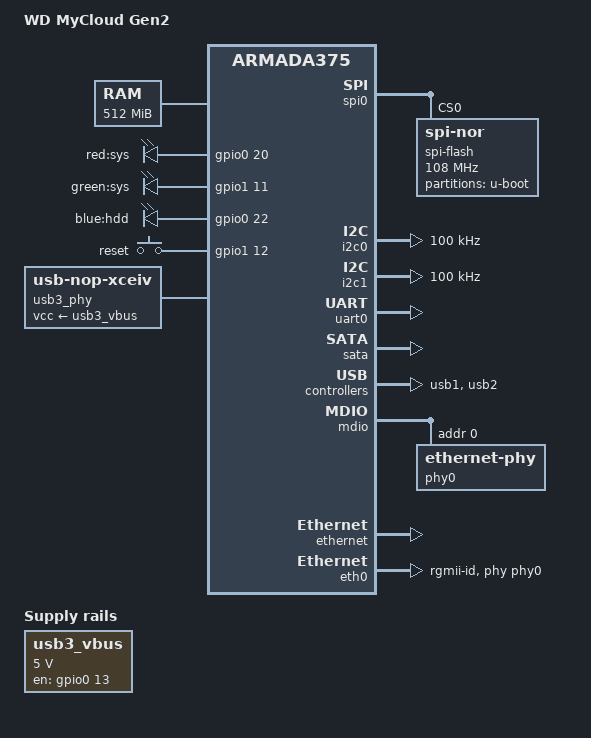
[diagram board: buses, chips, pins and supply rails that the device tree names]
// SPDX-License-Identifier: (GPL-2.0+ OR MIT)

/dts-v1/;
#include <dt-bindings/input/input.h>
#include <dt-bindings/gpio/gpio.h>
#include <dt-bindings/leds/common.h>
#include "armada-375.dtsi"

/ {
	model = "WD MyCloud Gen2";
	compatible = "wd,cloud-gen2", "marvell,a375-db", "marvell,armada375";

	aliases {
		led-boot = &led_boot;
		led-failsafe = &led_boot;
		led-upgrade = &led_boot;
		label-mac-device = &eth0;
	};

	chosen {
		stdout-path = "serial0:115200n8";
		bootargs = "console=ttyS0,115200n8 root=/dev/sda3 rootdelay=5";		
	};

	memory@0 {
		device_type = "memory";
		reg = <0x00000000 0x20000000>; /* 512 MB */
	};

	soc {
		ranges = <MBUS_ID(0xf0, 0x01) 0 0xf1000000 0x100000
			  MBUS_ID(0x01, 0x1d) 0 0xfff00000 0x100000
			  MBUS_ID(0x09, 0x09) 0 0xf1100000 0x10000
			  MBUS_ID(0x09, 0x05) 0 0xf1110000 0x10000>;

	};

	gpio-leds {
		compatible = "gpio-leds";
		pinctrl-names = "default";
		pinctrl-0 = <&sys_led_pins>;

		led_boot: sys_red {
			label = "red:sys";
			gpios = <&gpio0 20 GPIO_ACTIVE_HIGH>;
		};
		sys_green {
			label = "green:sys";
			gpios = <&gpio1 11 GPIO_ACTIVE_HIGH>;
		};
		hdd_blue {
			label = "blue:hdd";
			gpios = <&gpio0 22 GPIO_ACTIVE_HIGH>;
			linux,default-trigger = "ata1";
		};
	};

	gpio-keys {
		compatible = "gpio-keys";
		pinctrl-names = "default";
		pinctrl-0 = <&btn_reset_pins>;

		reset {
			label = "reset";
			gpios = <&gpio1 12 GPIO_ACTIVE_HIGH>;
			linux,code = <KEY_RESTART>;
		};
	};

	usb3_phy: usb3-phy {
		compatible = "usb-nop-xceiv";
		vcc-supply = <&usb3_vbus>;
	};

	usb3_vbus: usb3-vbus {
		compatible = "regulator-fixed";
		pinctrl-names = "default";
		pinctrl-0 = <&usb3_vbus_pins>;
		regulator-name = "usb3-vbus";
		regulator-min-microvolt = <5000000>;
		regulator-max-microvolt = <5000000>;
		enable-active-high;
		regulator-always-on;
		gpio = <&gpio0 13 GPIO_ACTIVE_HIGH>;
	};
};

&spi0 {
	pinctrl-0 = <&spi0_pins>;
	pinctrl-names = "default";
	status = "okay";

	spi-flash@0 {
		#address-cells = <1>;
		#size-cells = <1>;

		compatible = "jedec,spi-nor";
		reg = <0>; /* Chip select 0 */
		spi-max-frequency = <108000000>;

		partitions {
			compatible = "fixed-partitions";
			#address-cells = <1>;
			#size-cells = <1>;

			partition@00000 {
				label = "u-boot";
				reg = <0x0 0x100000>;
				read-only;

				nvmem-layout {
					compatible = "fixed-layout";
					#address-cells = <1>;
					#size-cells = <1>;

					macaddr: macaddr@ff800 {
						compatible = "mac-base";
						reg = <0xff800 0x11>;
						#nvmem-cell-cells = <1>;
					};
				};
			};
		};
	};
};

&i2c0 {
	status = "okay";
	clock-frequency = <100000>;
	pinctrl-0 = <&i2c0_pins>;
	pinctrl-names = "default";
};

&i2c1 {
	status = "okay";
	clock-frequency = <100000>;
	pinctrl-0 = <&i2c1_pins>;
	pinctrl-names = "default";
};

&uart0 {
	status = "okay";
};

&pinctrl {
	sys_led_pins: sys-led-pins {
		marvell,pins = "mpp20", "mpp43", "mpp22"; // R G B
		marvell,function = "gpio";
	};

	btn_reset_pins: btn-reset-pins {
		marvell,pins = "mpp44";
		marvell,function = "gpio";
	};

	usb3_vbus_pins: usb3-vbus-pins {
		marvell,pins = "mpp13";
		marvell,function = "gpio";
	};
};

&rtc {
	status = "disabled";
};

&sata {
	status = "okay";
	nr-ports = <1>;
};

&usb1 {
	status = "okay";
};

&usb2 {
	status = "okay";
};

&mdio {
	phy0: ethernet-phy@0 {
		reg = <0>;
	};
};

&ethernet {
	status = "okay";
};

&eth0 {
	status = "okay";

	nvmem-cells = <&macaddr 0>;
	nvmem-cell-names = "mac-address";

	phy = <&phy0>;
	phy-mode = "rgmii-id";
};
